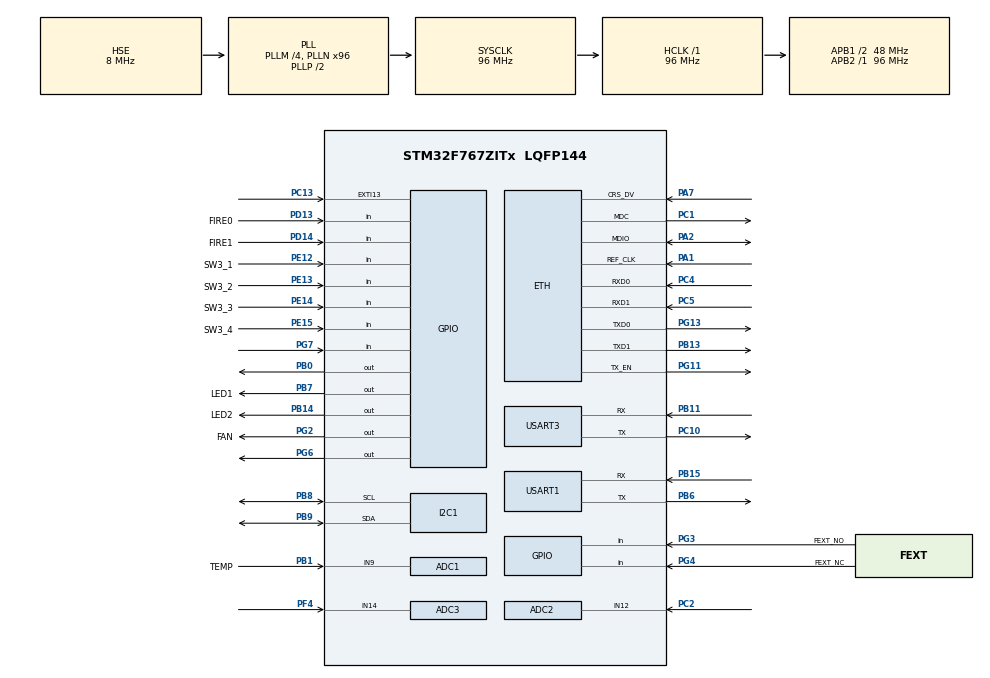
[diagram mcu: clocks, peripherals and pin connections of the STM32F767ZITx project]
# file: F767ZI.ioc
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ADC1.Channel-9\#ChannelRegularConversion=ADC_CHANNEL_9
ADC1.NbrOfConversionFlag=1
ADC1.Rank-9\#ChannelRegularConversion=1
ADC1.SamplingTime-9\#ChannelRegularConversion=ADC_SAMPLETIME_3CYCLES
ADC1.master=1
ADC2.Channel-3\#ChannelRegularConversion=ADC_CHANNEL_12
ADC2.NbrOfConversionFlag=1
ADC2.Rank-3\#ChannelRegularConversion=1
ADC2.SamplingTime-3\#ChannelRegularConversion=ADC_SAMPLETIME_3CYCLES
ADC3.Channel-3\#ChannelRegularConversion=ADC_CHANNEL_14
ADC3.InjNumberOfConversion=0
ADC3.NbrOfConversion=1
ADC3.NbrOfConversionFlag=1
ADC3.Rank-3\#ChannelRegularConversion=1
ADC3.SamplingTime-3\#ChannelRegularConversion=ADC_SAMPLETIME_3CYCLES
ETH.AutoNegotiation=ETH_AUTONEGOTIATION_ENABLE
ETH.MediaInterface=ETH_MEDIA_INTERFACE_RMII
ETH.PhyAddress=0
FREERTOS.Tasks01=defaultTask,0,256,StartDefaultTask,Default,NULL,Dynamic,NULL,NULL
FREERTOS.configCHECK_FOR_STACK_OVERFLOW=2
FREERTOS.configMINIMAL_STACK_SIZE=256
FREERTOS.configTOTAL_HEAP_SIZE=32768
I2C1.Timing=0x20303E5D
LWIP.GATEWAY_ADDRESS=192.168.001.137
LWIP.IP_ADDRESS=192.168.001.102
LWIP.LWIP_DHCP=0
LWIP.NETMASK_ADDRESS=255.255.255.000
LWIP.Version=v2.1.2_Cube
Mcu.Family=STM32F7
Mcu.Name=STM32F767ZITx
Mcu.Package=LQFP144
NVIC.ETH_IRQn=true\:5\:0\:false\:false\:true\:true\:false\:true
NVIC.EXTI15_10_IRQn=true\:5\:0\:false\:false\:true\:true\:true\:true
NVIC.PriorityGroup=NVIC_PRIORITYGROUP_4
NVIC.TIM6_DAC_IRQn=true\:0\:0\:false\:false\:true\:false\:false\:true
NVIC.TimeBase=TIM6_DAC_IRQn
NVIC.TimeBaseIP=TIM6
NVIC.USART1_IRQn=true\:5\:0\:false\:false\:true\:true\:true\:true
PA1.GPIO_Mode=GPIO_MODE_AF_PP
PA1.GPIO_PuPd=GPIO_NOPULL
PA1.GPIO_Speed=GPIO_SPEED_FREQ_VERY_HIGH
PA1.Mode=RMII
PA1.Signal=ETH_REF_CLK
PA10.GPIO_Mode=GPIO_MODE_AF_PP
PA10.GPIO_PuPd=GPIO_NOPULL
PA10.GPIO_Speed=GPIO_SPEED_FREQ_VERY_HIGH
PA10.Signal=USB_OTG_FS_ID
PA11.GPIO_Mode=GPIO_MODE_AF_PP
PA11.GPIO_PuPd=GPIO_NOPULL
PA11.GPIO_Speed=GPIO_SPEED_FREQ_VERY_HIGH
PA11.Signal=USB_OTG_FS_DM
PA12.GPIO_Mode=GPIO_MODE_AF_PP
PA12.GPIO_PuPd=GPIO_NOPULL
PA12.GPIO_Speed=GPIO_SPEED_FREQ_VERY_HIGH
PA12.Signal=USB_OTG_FS_DP
PA13.Mode=Serial_Wire
PA13.Signal=SYS_JTMS-SWDIO
PA14.Mode=Serial_Wire
PA14.Signal=SYS_JTCK-SWCLK
PA2.GPIO_Mode=GPIO_MODE_AF_PP
PA2.GPIO_PuPd=GPIO_NOPULL
PA2.GPIO_Speed=GPIO_SPEED_FREQ_VERY_HIGH
PA2.Mode=RMII
PA2.Signal=ETH_MDIO
PA7.GPIO_Mode=GPIO_MODE_AF_PP
PA7.GPIO_PuPd=GPIO_NOPULL
PA7.GPIO_Speed=GPIO_SPEED_FREQ_VERY_HIGH
PA7.Mode=RMII
PA7.Signal=ETH_CRS_DV
PA8.GPIO_Mode=GPIO_MODE_AF_PP
PA8.GPIO_PuPd=GPIO_NOPULL
PA8.GPIO_Speed=GPIO_SPEED_FREQ_VERY_HIGH
PA8.Signal=USB_OTG_FS_SOF
PA9.GPIO_Mode=GPIO_MODE_INPUT
PA9.GPIO_PuPd=GPIO_NOPULL
PA9.Signal=USB_OTG_FS_VBUS
PB0.GPIO_ModeDefaultOutputPP=GPIO_MODE_OUTPUT_PP
PB0.GPIO_PuPd=GPIO_NOPULL
PB0.GPIO_Speed=GPIO_SPEED_FREQ_LOW
PB0.PinState=GPIO_PIN_RESET
PB0.Signal=GPIO_Output
PB1.GPIO_Label=TEMP
PB1.Signal=ADCx_IN9
PB11.GPIO_ModeDefaultPP=GPIO_MODE_AF_PP
PB11.GPIO_PuPd=GPIO_NOPULL
PB11.GPIO_Speed=GPIO_SPEED_FREQ_VERY_HIGH
PB11.Mode=Asynchronous
PB11.Signal=USART3_RX
PB13.GPIO_Mode=GPIO_MODE_AF_PP
PB13.GPIO_PuPd=GPIO_NOPULL
PB13.GPIO_Speed=GPIO_SPEED_FREQ_VERY_HIGH
PB13.Mode=RMII
PB13.Signal=ETH_TXD1
PB14.GPIO_Label=LED2
PB14.Signal=GPIO_Output
PB15.Mode=Asynchronous
PB15.Signal=USART1_RX
PB3.Signal=SYS_JTDO-SWO
PB6.Mode=Asynchronous
PB6.Signal=USART1_TX
PB7.GPIO_FM7=__NULL
PB7.GPIO_Label=LED1
PB7.GPIO_ModeDefaultOutputPP=GPIO_MODE_OUTPUT_PP
PB7.GPIO_PuPd=GPIO_NOPULL
PB7.GPIO_Speed=GPIO_SPEED_FREQ_LOW
PB7.PinState=GPIO_PIN_RESET
PB7.Signal=GPIO_Output
PB8.Mode=I2C
PB8.Signal=I2C1_SCL
PB9.Mode=I2C
PB9.Signal=I2C1_SDA
PC1.GPIO_Mode=GPIO_MODE_AF_PP
PC1.GPIO_PuPd=GPIO_NOPULL
PC1.GPIO_Speed=GPIO_SPEED_FREQ_VERY_HIGH
PC1.Mode=RMII
PC1.Signal=ETH_MDC
PC10.GPIO_ModeDefaultPP=GPIO_MODE_AF_PP
PC10.GPIO_PuPd=GPIO_NOPULL
PC10.GPIO_Speed=GPIO_SPEED_FREQ_VERY_HIGH
PC10.Mode=Asynchronous
PC10.Signal=USART3_TX
PC13.GPIO_ModeDefaultEXTI=GPIO_MODE_IT_FALLING
PC13.Signal=GPXTI13
PC14/OSC32_IN.Mode=LSE-External-Oscillator
PC14/OSC32_IN.Signal=RCC_OSC32_IN
PC15/OSC32_OUT.Mode=LSE-External-Oscillator
PC15/OSC32_OUT.Signal=RCC_OSC32_OUT
PC2.Signal=ADCx_IN12
PC4.GPIO_Mode=GPIO_MODE_AF_PP
PC4.GPIO_PuPd=GPIO_NOPULL
PC4.GPIO_Speed=GPIO_SPEED_FREQ_VERY_HIGH
PC4.Mode=RMII
PC4.Signal=ETH_RXD0
PC5.GPIO_Mode=GPIO_MODE_AF_PP
PC5.GPIO_PuPd=GPIO_NOPULL
PC5.GPIO_Speed=GPIO_SPEED_FREQ_VERY_HIGH
PC5.Mode=RMII
PC5.Signal=ETH_RXD1
PD13.GPIO_Label=FIRE0
PD13.Signal=GPIO_Input
PD14.GPIO_Label=FIRE1
PD14.Signal=GPIO_Input
PD5.Signal=USART2_TX
PD6.Signal=USART2_RX
PE12.GPIO_Label=SW3_1
PE12.Signal=GPIO_Input
PE13.GPIO_Label=SW3_2
PE13.Signal=GPIO_Input
PE14.GPIO_Label=SW3_3
PE14.Signal=GPIO_Input
PE15.GPIO_Label=SW3_4
PE15.Signal=GPIO_Input
PF4.Mode=IN14
PF4.Signal=ADC3_IN14
PG11.GPIO_Mode=GPIO_MODE_AF_PP
PG11.GPIO_PuPd=GPIO_NOPULL
PG11.GPIO_Speed=GPIO_SPEED_FREQ_VERY_HIGH
PG11.Mode=RMII
PG11.Signal=ETH_TX_EN
PG13.GPIO_Mode=GPIO_MODE_AF_PP
PG13.GPIO_PuPd=GPIO_NOPULL
PG13.GPIO_Speed=GPIO_SPEED_FREQ_VERY_HIGH
PG13.Mode=RMII
PG13.Signal=ETH_TXD0
PG14.Signal=USART6_TX
PG2.GPIO_Label=FAN
PG2.Signal=GPIO_Output
PG3.GPIO_Label=FEXT_NO
PG3.Signal=GPIO_Input
PG4.GPIO_Label=FEXT_NC
PG4.Signal=GPIO_Input
PG6.GPIO_ModeDefaultOutputPP=GPIO_MODE_OUTPUT_PP
PG6.GPIO_PuPd=GPIO_NOPULL
PG6.GPIO_Speed=GPIO_SPEED_FREQ_LOW
PG6.PinState=GPIO_PIN_RESET
PG6.Signal=GPIO_Output
PG7.GPIO_Mode=GPIO_MODE_INPUT
PG7.GPIO_PuPd=GPIO_NOPULL
PG7.Signal=GPIO_Input
PG9.Signal=USART6_RX
PH0/OSC_IN.Mode=HSE-External-Clock-Source
PH0/OSC_IN.Signal=RCC_OSC_IN
PH1/OSC_OUT.Mode=HSE-External-Clock-Source
PH1/OSC_OUT.Signal=RCC_OSC_OUT
ProjectManager.HeapSize=0x200
ProjectManager.StackSize=0x400
ProjectManager.TargetToolchain=STM32CubeIDE
RCC.48MHZClocksFreq_Value=24000000
RCC.AHBFreq_Value=96000000
RCC.APB1CLKDivider=RCC_HCLK_DIV2
RCC.APB1Freq_Value=48000000
RCC.APB1TimFreq_Value=96000000
RCC.APB2Freq_Value=96000000
RCC.APB2TimFreq_Value=96000000
RCC.CortexFreq_Value=96000000
RCC.HCLKFreq_Value=96000000
RCC.HSE_VALUE=8000000
RCC.HSI_VALUE=16000000
RCC.PLLM=4
RCC.PLLMUL=RCC_PLL_MUL9
RCC.PLLN=96
RCC.PLLQ=4
RCC.PLLSourceVirtual=RCC_PLLSOURCE_HSE
RCC.PRESCALERUSB=RCC_USBCLKSOURCE_PLL_DIV1_5
RCC.SYSCLKFreq_VALUE=96000000
RCC.SYSCLKSource=RCC_SYSCLKSOURCE_PLLCLK
RCC.SYSCLKSourceVirtual=RCC_SYSCLKSOURCE_PLLCLK
RCC.USBFreq_Value=48000000
RCC.VCOOutputFreq_Value=192000000
SH.ADCx_IN12.0=ADC2_IN12,IN12
SH.ADCx_IN9.0=ADC1_IN9,IN9
USART1.VirtualMode-Asynchronous=VM_ASYNC
USART3.VirtualMode-Asynchronous=VM_ASYNC
VP_FREERTOS_VS_CMSIS_V1.Mode=CMSIS_V1
VP_LWIP_VS_Enabled.Mode=Enabled
VP_SYS_VS_tim6.Mode=TIM6
board=NUCLEO-F767ZI

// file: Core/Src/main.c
/* USER CODE BEGIN Header */
/**
 ******************************************************************************
 * @file           : main.c
 * @brief          : Main program body
 ******************************************************************************
 * @attention
 *
 * <h2><center>&copy; Copyright (c) 2020 STMicroelectronics.
 * All rights reserved.</center></h2>
 *
 * This software component is licensed by ST under Ultimate Liberty license
 * SLA0044, the "License"; You may not use this file except in compliance with
 * the License. You may obtain a copy of the License at:
 *                             www.st.com/SLA0044
 *
 ******************************************************************************
 */
/* USER CODE END Header */

#include "main.h"
#include "cmsis_os.h"
#include "lwip.h"

/* USER CODE BEGIN Includes */
#include <math.h>
#include <stdbool.h>
#include <stdio.h>
#include <string.h>
#include "lwip/api.h"
#include "bma456.h"
#include "bma4_common.h"
/* USER CODE END Includes */

/* USER CODE BEGIN PTD */
typedef enum {
	REQ = 0, RESP = 1
} packet_type;

struct time_packet {
	uint8_t head; //0xAE
	uint8_t type; //0:REQ, 1:RESP
};

#pragma pack(1)
struct lora_packet_t {
	uint8_t device_id;
	float temp;
	float vocs;
	float smoke;
	float vibr;
	uint8_t fire;
	uint8_t fan_stat;
	uint8_t fext_stat;
};
/* USER CODE END PTD */

/* USER CODE BEGIN PD */

#define DEVICEID  31;
#define FAN_ON_TEMP 35

//#define LORA  1
//#define UDP  1

#define SERVER_IP1  192 //server ip address
#define SERVER_IP2  168
#define SERVER_IP3  1
//#define SERVER_IP4  152
#define SERVER_IP4  137
#define SERVER_PORT	8000 //server listen port

// lora define
#define REGION	"KR920"
#define TX_POWER "0"
//#define DEV_EUI	"60C5A8FFFE78AF6C"
#define APP_EUI	"28d810c5b5291877"
#define APP_KEY	"756be986bd0cf786c37fad995b8f4961"
#define CONFIRM	"1"
#define GRAVITY_EARTH      (9.80665f)
#define VIBR_LIMIT      (1.0f)
#define DIFF_ABS(X,Y) ((X)>(Y)?(X)-(Y):(Y)-(X))

//8000
/* USER CODE END PD */

ADC_HandleTypeDef hadc1;
ADC_HandleTypeDef hadc2;
ADC_HandleTypeDef hadc3;

I2C_HandleTypeDef hi2c1;

UART_HandleTypeDef huart1;
UART_HandleTypeDef huart3;

osThreadId defaultTaskHandle;
/* USER CODE BEGIN PV */
extern struct netif gnetif; //extern gnetif
osThreadId tcp_task;  //tcp client task handle
osThreadId i2c_task;
osThreadId collection_task;
osThreadId udp_send_task;
osThreadId lora_send_task;

osThreadId led_blink_task;

ip_addr_t server_addr; //server address
struct time_packet packet; //256 bytes time_packet structure

int t;
int h;

struct netconn *conn;
bool state; // lora join state
bool lora_init;
bool bma_init;
struct bma4_dev bma = { 0 };
struct bma4_accel sens_data = { 0 };

float vibr_x;
float vibr_y;
float vibr_z;
float vibr;
float temp;
float co;
float vocs;
float formaldehyde;
float toluene;
float benzene;
uint8_t fire;
uint8_t debug;
uint8_t fext_stat;
uint8_t fan_stat;
uint8_t i;

float c_vibr;
float c_temp;
float c_co;
float c_vocs;

float vibr_abs_new;
float vibr_abs_old;

uint8_t device_id;
char *device_eui;

uint8_t LORA;
uint8_t UDP;

/* USER CODE END PV */

void SystemClock_Config(void);
static void MX_GPIO_Init(void);
static void MX_ADC1_Init(void);
static void MX_USART1_UART_Init(void);
static void MX_USART3_UART_Init(void);
static void MX_ADC3_Init(void);
static void MX_ADC2_Init(void);
static void MX_I2C1_Init(void);
void StartDefaultTask(void const *argument);

/* USER CODE BEGIN PFP */
void StartClientTask(void const *argument); //tcp client task function
void StartI2CTask(void const *argument);
void startUdpSendTask(void const *argument);
void startLoRaSendTask(void const *argument);
void collectionTask(void const *argument);
/* USER CODE END PFP */

/* USER CODE BEGIN 0 */

int __io_putchar(int ch) {
	uint8_t ch8 = ch;
	HAL_UART_Transmit(&huart3, (uint8_t*) &ch8, 1, HAL_MAX_DELAY);
	return ch;
}

int __io_getchar() {
	uint8_t ch8;
	HAL_UART_Receive(&huart3, &ch8, 1, HAL_MAX_DELAY);
	return 0;
}

void reset(){
	vibr = c_vibr;
	temp = c_temp;
	co = c_co;
	vocs = 0;

}

void print_ip(unsigned int ip, unsigned int netmask, unsigned int gw_ip) {
	unsigned char bytes[4];
	bytes[0] = ip & 0xFF;
	bytes[1] = (ip >> 8) & 0xFF;
	bytes[2] = (ip >> 16) & 0xFF;
	bytes[3] = (ip >> 24) & 0xFF;
	printf("ip %d.%d.%d.%d\r\n", bytes[3], bytes[2], bytes[1], bytes[0]);

	bytes[0] = netmask & 0xFF;
	bytes[1] = (netmask >> 8) & 0xFF;
	bytes[2] = (netmask >> 16) & 0xFF;
	bytes[3] = (netmask >> 24) & 0xFF;
	printf("netmask %d.%d.%d.%d\r\n", bytes[3], bytes[2], bytes[1], bytes[0]);

	bytes[0] = gw_ip & 0xFF;
	bytes[1] = (gw_ip >> 8) & 0xFF;
	bytes[2] = (gw_ip >> 16) & 0xFF;
	bytes[3] = (gw_ip >> 24) & 0xFF;
	printf("gw_ip %d.%d.%d.%d\r\n", bytes[3], bytes[2], bytes[1], bytes[0]);
}

static float lsb_to_ms2(int16_t val, float g_range, uint8_t bit_width) {
	float half_scale = (1 << bit_width) / 2.0f;
	return ((float) (GRAVITY_EARTH * val * g_range)) / half_scale;
}

const float LM75A_DEGREES_RESOLUTION = 0.125;
void collectionTask(void const *argument) {
	printf("----- StartCollectionTask ------\r\n");

	//adc
	uint32_t adc;
	float co_tmp;
	float V;

	//gpio
	uint8_t fext_no = HAL_GPIO_ReadPin(GPIOG, FEXT_NO_Pin); // FEXT EMPTY
	uint8_t fext_nc = HAL_GPIO_ReadPin(GPIOG, FEXT_NC_Pin); // FEXT NOT CONNECTED

	uint8_t fire0 = HAL_GPIO_ReadPin(GPIOD, FIRE0_Pin); // temp up
	uint8_t fire1 = HAL_GPIO_ReadPin(GPIOD, FIRE1_Pin); // fire up

	fext_stat = fext_no << 1 | fext_nc;
	fire = fire1 << 1 | fire0;

	//i2c
	HAL_StatusTypeDef ret;
	int8_t rslt;

	int16_t refactored_value;
	uint8_t *ptr = (uint8_t*) &refactored_value;

	uint8_t send_buf[1] = { 0x00 };
	uint8_t i2c_rx_buf[2] = { 0 };

	float real_value;

	while (1) {
		// ---------------------- START ADC ----------------------
		osDelay(200);

		//printf("========== ADC ==========\r\n");
		//printf("       ADC    V         Value\r\n");

		// co , PC2 , SMOKE_A
		HAL_ADC_Start(&hadc2);
		HAL_ADC_PollForConversion(&hadc2, HAL_MAX_DELAY);
		adc = HAL_ADC_GetValue(&hadc2);
		V = adc * (3.3f / 4096.0f);
		V = V * 5 / 3.3f;

		co_tmp = 113.26042 - (271.01187 * V) + (148.17739 * pow(V, 2)); // * 5/3.3

		if (V > 1.0 && co_tmp > 0) {
			if (co_tmp > 1000) {
				c_co = 1000;
			} else {
				c_co = co_tmp;
			}
		} else {
			c_co = 0;
		}

		co  = fmaxf(co,c_co);

		//printf("CO  : %d , %f, %f PPM\r\n", adc, V, co);

		// voc , PF4 , VOC_A
		HAL_ADC_Start(&hadc3);
		HAL_ADC_PollForConversion(&hadc3, HAL_MAX_DELAY);
		adc = HAL_ADC_GetValue(&hadc3);
		V = adc * (3.3f / 4096.0f);
		V = V * 5 / 3.3;

		toluene =  pow(10, (-5.237f) + 4.848f * (V) + (-0.857f) * pow(V, 2));
		formaldehyde = pow(10,(-5.905f) + 6.996f * (V) + (-1.327f) * pow(V, 2));
		benzene = pow(10, (-11.207f) + 14.718f * (V) + (-3.829f) * pow(V, 2));

		if (V > 2.62) {
			toluene = 750;
		}

		if (V > 2.08) {
			formaldehyde = 750;
		}

		if (V > 1.39) {
			benzene = 70;
		}

		//formaldehyde = (-3.665) + (3.009 * V ) + ((-0.362) * pow(V, 2));
		//toluene = (-9.234) + (5.249 * V) + ((-0.557)* pow(V, 2));

		//printf("VOCS  : %d , %fV\r\n", adc, V);
		//printf("TOL  : %d , %f, %fppm \r\n", adc, toluene);
		//printf("FOR  : %d , %f, %fppm \r\n", adc, V, formaldehyde);
		//printf("BEZ  : %d , %f, %fppm \r\n", adc, V, benzene);
		c_vocs = formaldehyde;
		vocs = fmaxf(vocs,c_vocs);
		// ---------------------- END ADC ----------------------

		// ---------------------- START I2C ----------------------
		//printf("========== I2C ==========\r\n");

		ret = HAL_I2C_Master_Transmit(&hi2c1, 0x90, send_buf, 1, HAL_MAX_DELAY);
		if (ret != HAL_OK) {
			printf("LM75AD i2s send error\r\n");
		} else {
			ret = HAL_I2C_Master_Receive(&hi2c1, 0x90, i2c_rx_buf, 2,
			HAL_MAX_DELAY);

			if (ret != HAL_OK) {
				printf("LM75AD i2s receive error\r\n");
			} else {

				// Swap bytes
				*ptr = *((uint8_t*) &i2c_rx_buf + 1);
				*(ptr + 1) = *(uint8_t*) &i2c_rx_buf;

				// Shift data (left-aligned)
				refactored_value >>= 5;

				if (refactored_value & 0x0400) {
					// When sign bit is set, set upper unused bits, then 2's complement
					refactored_value |= 0xf800;
					refactored_value = ~refactored_value + 1;
					real_value = (float) refactored_value * (-1)
							* LM75A_DEGREES_RESOLUTION;
				} else {
					real_value = (float) refactored_value
							* LM75A_DEGREES_RESOLUTION;
				}
				c_temp = real_value;
				temp = fmaxf(temp,c_temp);
				//printf("temp : %f\r\n", temp);
			}
		}

		// ---------------------- START GPIO ----------------------
		//printf("========== GPIO ==========\r\n");

		// get Fire extinguisher status
		// 0 ->1 : GAS EMPTY , 1 -> 0 : WORKING or NOT CONNECT

		fext_no = HAL_GPIO_ReadPin(GPIOG, FEXT_NO_Pin); // FEXT EMPTY
		fext_nc = HAL_GPIO_ReadPin(GPIOG, FEXT_NC_Pin); // FEXT NOT CONNECTED
		fire0 = HAL_GPIO_ReadPin(GPIOD, FIRE0_Pin); // temp up
		fire1 = HAL_GPIO_ReadPin(GPIOD, FIRE1_Pin); // fire up

		fext_stat = fext_no << 1 | fext_nc;
		fire = fire1 << 1 | fire0;

		//printf(" FIRE0 %d\r\n",fire0 );
		//printf(" FIRE1 %d\r\n",fire1 );
		//printf("fext_stat : %d \r\n", fext_stat);
		//printf("fire : %d \r\n", fire);

		fan_stat = HAL_GPIO_ReadPin(GPIOG, FAN_Pin);
		//printf("fan_stat : %d\r\n", fan_stat);

		// control fan
		if(temp >= FAN_ON_TEMP && fan_stat == 0){
			printf(" FAN ON \r\n");
			HAL_GPIO_WritePin(GPIOG, FAN_Pin ,GPIO_PIN_SET);
		}else if(temp < FAN_ON_TEMP && fan_stat == 1){
			printf(" FAN OFF \r\n");
			HAL_GPIO_WritePin(GPIOG, FAN_Pin ,GPIO_PIN_RESET);
		}

		//HAL_GPIO_TogglePin(GPIOG, FAN_Pin);

		// ---------------------- END GPIO ----------------------
		/* Read the accel x, y, z data */
//		if (bma_init) {
//			rslt = bma4_read_accel_xyz(&sens_data, &bma);
//			bma4_error_codes_print_result("bma4_read_accel_xyz status", rslt);
//
//			if (rslt == BMA4_OK) {
//
//				/* Converting lsb to meter per second squared for 16 bit resolution at 2G range */
//				vibr_x = lsb_to_ms2(sens_data.x, 2, bma.resolution);
//				vibr_y = lsb_to_ms2(sens_data.y, 2, bma.resolution);
//				vibr_z = lsb_to_ms2(sens_data.z, 2, bma.resolution);
//
//				/* Print the data in m/s2 */
//				/* Print the data in m/s2 */
//				//printf("ANGLE : x:%d, y:%d, z:%d\r\n", sens_data.x, sens_data.y, sens_data.z);
//				printf("ANGLE : x:%f, y:%f, z:%f , %f\r\n", vibr_x, vibr_y,
//						vibr_zsqrt(pow(vibr_x, 2.0) + pow(vibr_y, 2.0)+ pow(vibr_z, 2.0)));
//			}
//		}
		/*uint8_t send_buf[1] = { 0x00};
		 uint8_t i2c_rx_buf[65] = { 0 };

		 ret = HAL_I2C_Master_Transmit(&hi2c1, 0x30, send_buf, sizeof(send_buf), HAL_MAX_DELAY);
		 if (ret != HAL_OK) {
		 printf("i2s send error\r\n");
		 } else {
		 ret = HAL_I2C_Master_Receive(&hi2c1, 0x30, i2c_rx_buf, sizeof(i2c_rx_buf),
		 HAL_MAX_DELAY);

		 if (ret != HAL_OK) {
		 printf("i2s receive error\r\n");
		 } else {
		 printf("i2c : !");
		 for (uint8_t i = 0; i < sizeof(i2c_rx_buf); i++) {
		 printf("%x ", i2c_rx_buf[i]);
		 }

		 printf("\r\n");

		 }
		 }
		 */
		// ---------------------- END I2C ----------------------
		// ---------------------- TOGGLE TEST--------------------
		//HAL_GPIO_TogglePin(GPIOB, RED_LED_Pin);
//		if (i % 2 == 0) {
//			printf("========== GPIO TOGGLE ==========\r\n");
//			HAL_GPIO_TogglePin(GPIOG, FAN_Pin); //toggle relay of fan
//		}
//		i++;
	}

}

// lora uart data
uint8_t lora_rv_data;
uint8_t lora_rv_buf[1024];
uint32_t lora_rv_buf_pos;
void HAL_UART_RxCpltCallback(UART_HandleTypeDef *uartHandle) {

	if (uartHandle->Instance == huart3.Instance) {
//		if (pos == 0) {
//			memset(buf, 0, sizeof(buf));
//		}
//
//		buf[pos++] = data;
//
//		if (pos == sizeof(buf)) {
//			printf("%s\r\n", buf);
//			pos = 0;
//		}
//
//		HAL_UART_Receive_IT(&huart3, &lora_rv_data, 1);
	} else if (uartHandle->Instance == huart1.Instance) {

		lora_rv_buf[lora_rv_buf_pos++] = lora_rv_data;

		if (lora_rv_buf_pos == sizeof(lora_rv_buf)) {
			//printf("%s", lora_rv_buf);
			lora_rv_buf_pos = 0;
		}

		HAL_UART_Receive_IT(&huart1, &lora_rv_data, 1);
	}
}

void Lora_Buf_Clear() {
	memset(lora_rv_buf, 0x0, sizeof(lora_rv_buf));
	lora_rv_buf_pos = 0;
	osDelay(500);
	HAL_UART_Receive_IT(&huart1, &lora_rv_data, 1);

}

void Lora_Cmd_Send(UART_HandleTypeDef *huart, char *cmd) {
	HAL_UART_Transmit_IT(huart, cmd, strlen(cmd));
}

bool Lora_Str_Find(char *str) {
	return strstr((char*) lora_rv_buf, str) != NULL;
}

void Print_Lora_Buf() {
	printf("%s\r\n", lora_rv_buf);
}

bool Lora_INIT(UART_HandleTypeDef *huart, char *cmd) {
	Lora_Buf_Clear();
	Lora_Cmd_Send(huart, cmd);
	osDelay(1500);

	//check uart response
	//Print_Lora_Buf();
	if (Lora_Str_Find("OK")) {
		return true;
	} else {
		return false;
	}

}
bool c1, c2, c3, c4, c5, c6;
bool Lora_Config(UART_HandleTypeDef *huart) {

	char cmd[128];
	bool flag = true;
	while (flag) {
		// set KR920
		if (!c1) {
			sprintf(cmd, "at+set_config=lora:region:%s\r\n", REGION);
			if (Lora_INIT(huart, cmd)) {
				printf("Lora_INIT OK : %s", cmd);
				c1 = true;
			} else {
				printf("Lora_INIT FAIL : %s", cmd);
				continue;
			}
		}

		// set TX Power
// default : 0
//		if (!c2) {
//			sprintf(cmd, "at+set_config=lora:tx_power:%s\r\n", TX_POWER);
//			if (Lora_INIT(huart, cmd)) {
//				printf("Lora_INIT OK : %s", cmd);
//				c2 = true;
//			} else {
//				printf("Lora_INIT FAIL : %s", cmd);
//				continue;
//			}
//		}

		// set app_eui device_eui

		if (!c3) {
			sprintf(cmd, "at+set_config=lora:app_eui:%s\r\n", APP_EUI);
			if (Lora_INIT(huart, cmd)) {
				printf("Lora_INIT OK : %s", cmd);
				c3 = true;
			} else {
				printf("Lora_INIT FAIL : %s", cmd);
				continue;
			}
		}
		// set dev_eui

		if (!c4) {
			//sprintf(cmd, "at+set_config=lora:dev_eui:%s\r\n", DEV_EUI);
			sprintf(cmd, "at+set_config=lora:dev_eui:%s\r\n", device_eui);
			if (Lora_INIT(huart, cmd)) {
				printf("Lora_INIT OK : %s", cmd);
				c4 = true;
			} else {
				printf("Lora_INIT FAIL : %s", cmd);
				continue;
			}
		}

		if (!c5) {
			// set app_key
			sprintf(cmd, "at+set_config=lora:app_key:%s\r\n", APP_KEY);
			if (Lora_INIT(huart, cmd)) {
				printf("Lora_INIT OK : %s", cmd);
				c5 = true;
			} else {
				printf("Lora_INIT FAIL : %s", cmd);
				continue;
			}
		}

		if (!c6) {
			// set app_key
			sprintf(cmd, "at+set_config=lora:confirm:%s\r\n", CONFIRM);
			if (Lora_INIT(huart, cmd)) {
				printf("Lora_INIT OK : %s", cmd);
				c6 = true;
			} else {
				printf("Lora_INIT FAIL : %s", cmd);
				continue;
			}
		}
		break;

	}

}

bool Lora_Status(UART_HandleTypeDef *huart) {
	Lora_Buf_Clear();
	Lora_Cmd_Send(huart, "at+get_config=lora:status\r\n");
	osDelay(1000);
	//Print_Lora_Buf();
	if (Lora_Str_Find("Joined Network:true")) {
		//printf("LoRa Joined Network\r\n");
		return true;
	} else {
		//printf("LoRa Not Joined Network\r\n");
		return false;
	}
}

bool Lora_Join(UART_HandleTypeDef *huart) {
	Lora_Buf_Clear();
	Lora_Cmd_Send(huart, "at+join\r\n");
	osDelay(5000);
	//Print_Lora_Buf();
	if (Lora_Str_Find("Join Success")) {
		return true;
	} else {
		return false;
	}
}

char lora_send_msg[128];
char lora_send_payload[128];
uint32_t len;
struct lora_packet_t lora_packet_t;
void Lora_Send(UART_HandleTypeDef *huart) {

	len = sprintf((char*) lora_send_msg, "at+send=lora:10:");

//	struct lora_packet_t {
//		uint32_t device_id;
//		uint8_t temp;
//		uint8_t vocs;
//		short smoke;
//		float vibr_x;
//		float vibr_y;
//		float vibr_z;
//		uint8_t fire;
//		uint8_t fan_stat;
//		uint8_t fext_stat;
//	};

//	float vibr_x;
//	float vibr_y;
//	float vibr_z;
//	float temp;
//	float co;
//	float formaldehyde;
//	float toluene;
//	float vocs;
//	uint8_t fire0;
//	uint8_t fire1;
//	uint8_t fire;
//	uint8_t debug;
//	uint8_t fext_stat;
//	uint8_t fan_stat;
//	uint8_t i;

	lora_packet_t.device_id = device_id;
	lora_packet_t.temp = temp;
	lora_packet_t.vocs = vocs;
	lora_packet_t.smoke = co;
	lora_packet_t.vibr = vibr;
	lora_packet_t.fire = fire;
	lora_packet_t.fan_stat = fan_stat;
	lora_packet_t.fext_stat = fext_stat;

	printf(
			"#### SEND LoRa Msg : {\"device_id\":%d,\"temp\":%f,\"vocs\":%f,\"smoke\":%f,\"vibr\":%f,\"fire\":%x,\"fan\":%x,\"fext_stat\":%x}\r\n",
			lora_packet_t.device_id,
			lora_packet_t.temp, //
			lora_packet_t.vocs, //
			lora_packet_t.smoke, lora_packet_t.vibr, lora_packet_t.fire,
			lora_packet_t.fan_stat, lora_packet_t.fext_stat);

	for (uint8_t i = 0; i < sizeof(struct lora_packet_t); i++) {
		sprintf((char*) &lora_send_msg[len + (i * 2)], "%02X",
				((char*) &lora_packet_t)[i]);
	}

	len += sizeof(struct lora_packet_t) * 2;

	lora_send_msg[len++] = '\r';
	lora_send_msg[len++] = '\n';

//printf("%s",lora_send_msg, sizeof(struct lora_packet_t));
	Lora_Buf_Clear();
	Lora_Cmd_Send(huart, lora_send_msg);
	//osDelay(500);
	for (uint8_t wait_cnt = 0; wait_cnt < 60; wait_cnt++) { // wait 1 minute
		osDelay(1000);
		Print_Lora_Buf();
		if (Lora_Str_Find("OK") || Lora_Str_Find("ERROR")) {
			break;
		}
	}
	reset();
}

void StartI2CTask(void const *argument) {
	printf("----- startI2CTask ------\r\n");

	HAL_StatusTypeDef ret;

	uint8_t send_buf[1] = { 0x00 };
	uint8_t i2c_rx_buf[2] = { 0 };

//lora_rv_data = netbuf_alloc(buf, 128);

	while (1) {
		ret = HAL_I2C_Master_Transmit(&hi2c1, 0x48, send_buf, 1, HAL_MAX_DELAY);
		if (ret != HAL_OK) {
			printf("i2s send error\r\n");
		} else {
			ret = HAL_I2C_Master_Receive(&hi2c1, 0x48, i2c_rx_buf, 2,
			HAL_MAX_DELAY);

			if (ret != HAL_OK) {
				printf("i2s receive error\r\n");
			} else {
//				printf("test %d lora_rv_data : %x %x %x %x %x %x\r\n",
//						sizeof(i2c_rx_buf), i2c_rx_buf[0], i2c_rx_buf[1],
//						i2c_rx_buf[2], i2c_rx_buf[3], i2c_rx_buf[4],
//						i2c_rx_buf[5]);
//				uint32_t temp = (float) ((float) 175.0
//						* (float) (i2c_rx_buf[0] * 0x100 + i2c_rx_buf[1])
//						/ (float) 65535.0 - 45.0);
//				uint32_t humi = (float) ((float) 100.0
//						* (float) (i2c_rx_buf[3] * 0x100 + i2c_rx_buf[4])
//						/ (float) 65535.0);
				//printf("temp : %d , humi : %d \r\n", temp, humi);
//				t = temp;
//				h = humi;

				//packet.head = 0xAE; //head
				//packet.type = REQ; //request type

				//netconn_write(conn, send_buf, sizeof(send_buf), NETCONN_NOFLAG);

			}
		}
		osDelay(1000);
	}
}

//bool readChipId() {
//
//	uint8_t send_buf[1] = { 0x00 };
//	uint8_t i2c_rx_buf[1] = { 0 };
//
//	HAL_StatusTypeDef ret = HAL_I2C_Master_Transmit(&hi2c1, 0x30, send_buf,
//			sizeof(send_buf),
//			HAL_MAX_DELAY);
//
//	if (ret != HAL_OK) {
//		printf("communication : SEND ERROR\r\n");
//		return false;
//	} else {
//		ret = HAL_I2C_Master_Receive(&hi2c1, 0x30, i2c_rx_buf,
//				sizeof(i2c_rx_buf),
//				HAL_MAX_DELAY);
//
//		if (ret != HAL_OK) {
//			printf("communication : RECEIVE ERROR\r\n");
//			return false;
//		} else {
//			if (i2c_rx_buf[0] == 0x16) {
//				printf("communication : OK\r\n");
//				return true;
//			} else {
//				printf("communication : ERROR\r\n");
//				return false;
//			}
//		}
//	}
//}
//
//void bma4_set_advance_power_save(uint8_t enable) {
//	uint8_t send_buf[2] = { 0x7C, enable };
//	if (HAL_I2C_Master_Transmit(&hi2c1, 0x30, send_buf, sizeof(send_buf),
//	HAL_MAX_DELAY) == HAL_OK) {
//		printf("disable PWR_CONF.adv_power_save \r\n");
//	}
//}
//
//void bma4_write_regs(uint8_t init_ctrl) {
//	uint8_t send_buf[2] = { 0x59, init_ctrl };
//	if (HAL_I2C_Master_Transmit(&hi2c1, 0x30, send_buf, sizeof(send_buf),
//	HAL_MAX_DELAY) == HAL_OK) {
//		printf("prepare feature engine INIT_CTRL =0x00 \r\n");
//	}
//
//}
//
//void stream_transfer_write() {
//	uint8_t send_buf[1] = { 0x5E };
//	if (HAL_I2C_Master_Transmit(&hi2c1, 0x30, send_buf, sizeof(send_buf),
//	HAL_MAX_DELAY) == HAL_OK) {
//		printf("burst_write_reg start\r\n");
//	}
//
//	if (HAL_I2C_Master_Transmit(&hi2c1, 0x30, bma456_config_file,
//			sizeof(bma456_config_file), HAL_MAX_DELAY) == HAL_OK) {
//		printf("burst_write_reg finish\r\n");
//	}
//
//}
//
//
//
//bool checkStatus() {
//
//	osDelay(140);
//	uint8_t send_buf[1] = { 0x2A };
//	uint8_t i2c_rx_buf[1] = { 0 };
//
//	HAL_StatusTypeDef ret = HAL_I2C_Master_Transmit(&hi2c1, 0x30, send_buf,
//			sizeof(send_buf),
//			HAL_MAX_DELAY);
//
//	if (ret != HAL_OK) {
//		printf("checkStatus : SEND ERROR\r\n");
//		return false;
//	} else {
//		ret = HAL_I2C_Master_Receive(&hi2c1, 0x30, i2c_rx_buf,
//				sizeof(i2c_rx_buf),
//				HAL_MAX_DELAY);
//
//		if (ret != HAL_OK) {
//			printf("checkStatus : RECEIVE ERROR\r\n");
//			return false;
//		} else {
//			printf("@@@ %x\r\n", i2c_rx_buf[0]);
//			if (i2c_rx_buf[0] == 0x01) {
//				printf("checkStatus : OK\r\n");
//				return true;
//			} else {
//				printf("checkStatus : ERROR\r\n");
//				return false;
//			}
//		}
//	}
//}
//
//
//void initialization() {
//
//	osDelay(1);
//
//	bma4_set_advance_power_save(0x00);
//
//	osDelay(1); // delay 450us
//
//	bma4_write_regs(0x00);
//
//	osDelay(1);
//
//	stream_transfer_write();
//
//	osDelay(1);
//
//	bma4_write_regs(0x01);
//
//	osDelay(1); // delay 150us
//
//}
//
//void initBMA456() {
//	osDelay(10);
//
//	if (!readChipId()) {
//		return;
//	}
//
//	initialization();
//	checkStatus();
//}

//	uint8_t send_buf[1] = { 0x00 };
//	uint8_t i2c_rx_buf[1] = { 0 };
//
//	ret = HAL_I2C_Master_Transmit(&hi2c1, 0x30, send_buf, sizeof(send_buf),
//			HAL_MAX_DELAY);
//	if (ret != HAL_OK) {
//		printf("i2s send error\r\n");
//		return;
//	} else {
//		ret = HAL_I2C_Master_Receive(&hi2c1, 0x30, i2c_rx_buf,
//				sizeof(i2c_rx_buf),
//				HAL_MAX_DELAY);
//
//		if (ret != HAL_OK) {
//			printf("i2s receive error\r\n");
//		} else {
//
//		}
//	}

void initLoRa() {
	osDelay(10);
	HAL_UART_Receive_IT(&huart1, &lora_rv_data, 1);

// init lora config (region , tx power , app eui, dev eui, app key )
	Lora_Config(&huart1);

	printf("LORA RAK JOIN CHECK START!\r\n");

	//state = Lora_Status(&huart1);
	while (1) {
		printf("LORA RAK STATUS CHECK!\r\n");
		state = Lora_Status(&huart1);
		if (state) {
			lora_init = true;
			break;
		} else {
			state = Lora_Join(&huart1);
			if (state == true) {
				lora_init = true;
				break;
			}
		}
	}
	printf("LORA RAK JOIN CHECK Finish!\r\n");
}

void StartClientTask(void const *argument) {

	osDelay(1000);
	printf("----- StartClientTask ------\r\n");
	err_t err;
	struct netbuf *buf;
	void *data;

	u16_t len; //buffer length
	u16_t nRead; //read buffer index
	u16_t nWritten; //write buffer index
	LWIP_UNUSED_ARG(argument);

	while (1) {

		if (gnetif.ip_addr.addr == 0 || gnetif.netmask.addr == 0
				|| gnetif.gw.addr == 0) {
			printf("no valid ip \r\n");
			osDelay(1000);
			continue;
		}
		print_ip(gnetif.ip_addr.addr, gnetif.netmask.addr, gnetif.gw.addr);
		//printf("%"PRIu32"\r\n", gnetif.ip_addr.addr); //print time information

		nRead = 0;			//clear indexes
		nWritten = 0;

		//conn = netconn_new(NETCONN_TCP); //new tcp netconn
		conn = netconn_new(NETCONN_UDP);			//new udp netconn

		if (conn != NULL) {

			printf("start Socket connect\r\n");

			IP4_ADDR(&server_addr, SERVER_IP1, SERVER_IP2, SERVER_IP3,
					SERVER_IP4);	//server ip
			err = netconn_connect(conn, &server_addr, SERVER_PORT);	//connect to the server

			if (err != ERR_OK) {
				printf("connect ERR %d\r\n", err);
				netconn_delete(conn); //free memory
				osDelay(1000);
				continue;
			}
			printf("connected %d\r\n", conn->state);

			//memset(&packet, 0, sizeof(struct time_packet));
			//packet.head = 0xAE; //head
			//packet.type = REQ; //request type

			//netconn_write(conn, &packet, sizeof(struct time_packet), NETCONN_NOFLAG);

//			do {
//
//				if (netconn_write_partly(conn, //connection
//						(const void*) (&packet + nWritten), //buffer pointer
//						(sizeof(struct time_packet) - nWritten), //buffer length
//						NETCONN_NOFLAG, //no copy
//						(size_t*) &len) != ERR_OK) //written len
//						{
//					netconn_close(conn); //close session
//					netconn_delete(conn); //free memory
//					continue;
//				} else {
//					nWritten += len;
//				}
//			} while (nWritten < sizeof(struct time_packet)); //send request

			while (netconn_recv(conn, &buf) == ERR_OK)	//receive the response
			{
				do {

					netbuf_data(buf, &data, &len); //receive lora_rv_data pointer & length

					//memcpy(&packet + nRead, lora_rv_data, len);
					//printf("receive@@ %d \r\n", len);
					nRead += len;
				} while (netbuf_next(buf) >= 0); //check buffer empty
				netbuf_delete(buf); //clear buffer
			}

			printf("end \r\n");
			netconn_close(conn); //close session
			netconn_delete(conn); //free memory
			conn = NULL;
		}
	}
}

uint8_t send_buf[512];
void startUdpSendTask(void const *argument) {

	printf("----- startUdpSendTask ------\r\n");

	struct netbuf *netbuf;
	netbuf = netbuf_new();
	while (1) {
		if (conn != NULL && conn->state == NETCONN_NONE) {

			memset(send_buf, 0, sizeof(send_buf));
			sprintf((char*) send_buf,
					"{\"device_id\":%d,\"temp\":%f,\"vocs\":%f,\"smoke\":%f,\"vibr\":%f,\"fire\":%x,\"fan\":%x,\"fext_stat\":%x}",
					device_id,
					temp, // 0
					vocs, // 0
					co, vibr, fire, fan_stat,
					fext_stat);
			printf("Send UDP Msg : %s\r\n", send_buf);

			//HAL_GPIO_TogglePin(GPIOF, GPIO_PIN_13); //toggle running led

			//UDP
			netbuf_ref(netbuf, send_buf, strlen(send_buf));
			netconn_send(conn, netbuf);

			reset();

			//TCP
			//netconn_write(conn, send_buf, sizeof(send_buf), NETCONN_NOFLAG);

		}
		osDelay(2000);

	}
}

void startLoRaSendTask(void const *argument) {

	printf("----- startLoRaSendTask ------\r\n");
	while (1) {
		// send LoRa message
		if (lora_init) { // lora_init
			state = Lora_Status(&huart1);
			if (state) {
				Lora_Send(&huart1);
			} else { // JOIN
				state = Lora_Join(&huart1);
				if (state == true)
					printf("Lora JOIN Success!!\r\n");
			}
		}
		osDelay(1000);
	}
}

void startLedBlinkTask(void const *argument) {

	printf("----- startLedBlinkTask ------\r\n");
	while (1) {
		HAL_GPIO_TogglePin(GPIOB, LED2_Pin);
		osDelay(200);
	}
}

/* USER CODE END 0 */

int main(void) {

	/* MCU Configuration--------------------------------------------------------*/

	/* Reset of all peripherals, Initializes the Flash interface and the Systick. */
	HAL_Init();

	/* Configure the system clock */
	SystemClock_Config();

	/* Initialize all configured peripherals */
	MX_GPIO_Init();
	MX_ADC1_Init();
	MX_USART1_UART_Init();
	MX_USART3_UART_Init();
	MX_ADC3_Init();
	MX_ADC2_Init();
	MX_I2C1_Init();
	/* USER CODE BEGIN 2 */

	// power led
	HAL_GPIO_WritePin(GPIOB, LED1_Pin, GPIO_PIN_SET);
	/* USER CODE END 2 */

	/* Create the thread(s) */
	/* definition and creation of defaultTask */
	osThreadDef(defaultTask, StartDefaultTask, osPriorityNormal, 0, 256);
	defaultTaskHandle = osThreadCreate(osThread(defaultTask), NULL);

	/* Start scheduler */
	osKernelStart();

	/* We should never get here as control is now taken by the scheduler */
	/* Infinite loop */
	while (1) {

	}
}

void SystemClock_Config(void) {
	RCC_OscInitTypeDef RCC_OscInitStruct = { 0 };
	RCC_ClkInitTypeDef RCC_ClkInitStruct = { 0 };
	RCC_PeriphCLKInitTypeDef PeriphClkInitStruct = { 0 };

	/** Configure LSE Drive Capability
	 */
	HAL_PWR_EnableBkUpAccess();
	/** Configure the main internal regulator output voltage
	 */
	__HAL_RCC_PWR_CLK_ENABLE();
	__HAL_PWR_VOLTAGESCALING_CONFIG(PWR_REGULATOR_VOLTAGE_SCALE3);
	/** Initializes the CPU, AHB and APB busses clocks
	 */
	RCC_OscInitStruct.OscillatorType = RCC_OSCILLATORTYPE_HSE;
	RCC_OscInitStruct.HSEState = RCC_HSE_BYPASS;
	RCC_OscInitStruct.PLL.PLLState = RCC_PLL_ON;
	RCC_OscInitStruct.PLL.PLLSource = RCC_PLLSOURCE_HSE;
	RCC_OscInitStruct.PLL.PLLM = 4;
	RCC_OscInitStruct.PLL.PLLN = 96;
	RCC_OscInitStruct.PLL.PLLP = RCC_PLLP_DIV2;
	RCC_OscInitStruct.PLL.PLLQ = 4;
	if (HAL_RCC_OscConfig(&RCC_OscInitStruct) != HAL_OK) {
		Error_Handler();
	}
	/** Activate the Over-Drive mode
	 */
	if (HAL_PWREx_EnableOverDrive() != HAL_OK) {
		Error_Handler();
	}
	/** Initializes the CPU, AHB and APB busses clocks
	 */
	RCC_ClkInitStruct.ClockType = RCC_CLOCKTYPE_HCLK | RCC_CLOCKTYPE_SYSCLK
			| RCC_CLOCKTYPE_PCLK1 | RCC_CLOCKTYPE_PCLK2;
	RCC_ClkInitStruct.SYSCLKSource = RCC_SYSCLKSOURCE_PLLCLK;
	RCC_ClkInitStruct.AHBCLKDivider = RCC_SYSCLK_DIV1;
	RCC_ClkInitStruct.APB1CLKDivider = RCC_HCLK_DIV2;
	RCC_ClkInitStruct.APB2CLKDivider = RCC_HCLK_DIV1;

	if (HAL_RCC_ClockConfig(&RCC_ClkInitStruct, FLASH_LATENCY_3) != HAL_OK) {
		Error_Handler();
	}
	PeriphClkInitStruct.PeriphClockSelection = RCC_PERIPHCLK_USART1
			| RCC_PERIPHCLK_USART3 | RCC_PERIPHCLK_I2C1;
	PeriphClkInitStruct.Usart1ClockSelection = RCC_USART1CLKSOURCE_PCLK2;
	PeriphClkInitStruct.Usart3ClockSelection = RCC_USART3CLKSOURCE_PCLK1;
	PeriphClkInitStruct.I2c1ClockSelection = RCC_I2C1CLKSOURCE_PCLK1;
	if (HAL_RCCEx_PeriphCLKConfig(&PeriphClkInitStruct) != HAL_OK) {
		Error_Handler();
	}
}

static void MX_ADC1_Init(void) {

	ADC_ChannelConfTypeDef sConfig = { 0 };

	/** Configure the global features of the ADC (Clock, Resolution, Data Alignment and number of conversion)
	 */
	hadc1.Instance = ADC1;
	hadc1.Init.ClockPrescaler = ADC_CLOCK_SYNC_PCLK_DIV4;
	hadc1.Init.Resolution = ADC_RESOLUTION_12B;
	hadc1.Init.ScanConvMode = ADC_SCAN_DISABLE;
	hadc1.Init.ContinuousConvMode = DISABLE;
	hadc1.Init.DiscontinuousConvMode = DISABLE;
	hadc1.Init.ExternalTrigConvEdge = ADC_EXTERNALTRIGCONVEDGE_NONE;
	hadc1.Init.ExternalTrigConv = ADC_SOFTWARE_START;
	hadc1.Init.DataAlign = ADC_DATAALIGN_RIGHT;
	hadc1.Init.NbrOfConversion = 1;
	hadc1.Init.DMAContinuousRequests = DISABLE;
	hadc1.Init.EOCSelection = ADC_EOC_SINGLE_CONV;
	if (HAL_ADC_Init(&hadc1) != HAL_OK) {
		Error_Handler();
	}
	/** Configure for the selected ADC regular channel its corresponding rank in the sequencer and its sample time.
	 */
	sConfig.Channel = ADC_CHANNEL_9;
	sConfig.Rank = ADC_REGULAR_RANK_1;
	sConfig.SamplingTime = ADC_SAMPLETIME_3CYCLES;
	if (HAL_ADC_ConfigChannel(&hadc1, &sConfig) != HAL_OK) {
		Error_Handler();
	}

}

static void MX_ADC2_Init(void) {

	ADC_ChannelConfTypeDef sConfig = { 0 };

	/** Configure the global features of the ADC (Clock, Resolution, Data Alignment and number of conversion)
	 */
	hadc2.Instance = ADC2;
	hadc2.Init.ClockPrescaler = ADC_CLOCK_SYNC_PCLK_DIV4;
	hadc2.Init.Resolution = ADC_RESOLUTION_12B;
	hadc2.Init.ScanConvMode = ADC_SCAN_DISABLE;
	hadc2.Init.ContinuousConvMode = DISABLE;
	hadc2.Init.DiscontinuousConvMode = DISABLE;
	hadc2.Init.ExternalTrigConvEdge = ADC_EXTERNALTRIGCONVEDGE_NONE;
	hadc2.Init.ExternalTrigConv = ADC_SOFTWARE_START;
	hadc2.Init.DataAlign = ADC_DATAALIGN_RIGHT;
	hadc2.Init.NbrOfConversion = 1;
	hadc2.Init.DMAContinuousRequests = DISABLE;
	hadc2.Init.EOCSelection = ADC_EOC_SINGLE_CONV;
	if (HAL_ADC_Init(&hadc2) != HAL_OK) {
		Error_Handler();
	}
	/** Configure for the selected ADC regular channel its corresponding rank in the sequencer and its sample time.
	 */
	sConfig.Channel = ADC_CHANNEL_12;
	sConfig.Rank = ADC_REGULAR_RANK_1;
	sConfig.SamplingTime = ADC_SAMPLETIME_3CYCLES;
	if (HAL_ADC_ConfigChannel(&hadc2, &sConfig) != HAL_OK) {
		Error_Handler();
	}

}

static void MX_ADC3_Init(void) {

	ADC_ChannelConfTypeDef sConfig = { 0 };

	/** Configure the global features of the ADC (Clock, Resolution, Data Alignment and number of conversion)
	 */
	hadc3.Instance = ADC3;
	hadc3.Init.ClockPrescaler = ADC_CLOCK_SYNC_PCLK_DIV4;
	hadc3.Init.Resolution = ADC_RESOLUTION_12B;
	hadc3.Init.ScanConvMode = ADC_SCAN_DISABLE;
	hadc3.Init.ContinuousConvMode = DISABLE;
	hadc3.Init.DiscontinuousConvMode = DISABLE;
	hadc3.Init.ExternalTrigConvEdge = ADC_EXTERNALTRIGCONVEDGE_NONE;
	hadc3.Init.ExternalTrigConv = ADC_SOFTWARE_START;
	hadc3.Init.DataAlign = ADC_DATAALIGN_RIGHT;
	hadc3.Init.NbrOfConversion = 1;
	hadc3.Init.DMAContinuousRequests = DISABLE;
	hadc3.Init.EOCSelection = ADC_EOC_SINGLE_CONV;
	if (HAL_ADC_Init(&hadc3) != HAL_OK) {
		Error_Handler();
	}
	/** Configure for the selected ADC regular channel its corresponding rank in the sequencer and its sample time.
	 */
	sConfig.Channel = ADC_CHANNEL_14;
	sConfig.Rank = ADC_REGULAR_RANK_1;
	sConfig.SamplingTime = ADC_SAMPLETIME_3CYCLES;
	if (HAL_ADC_ConfigChannel(&hadc3, &sConfig) != HAL_OK) {
		Error_Handler();
	}

}

static void MX_I2C1_Init(void) {

	hi2c1.Instance = I2C1;
	hi2c1.Init.Timing = 0x20303E5D;
	hi2c1.Init.OwnAddress1 = 0;
	hi2c1.Init.AddressingMode = I2C_ADDRESSINGMODE_7BIT;
	hi2c1.Init.DualAddressMode = I2C_DUALADDRESS_DISABLE;
	hi2c1.Init.OwnAddress2 = 0;
	hi2c1.Init.OwnAddress2Masks = I2C_OA2_NOMASK;
	hi2c1.Init.GeneralCallMode = I2C_GENERALCALL_DISABLE;
	hi2c1.Init.NoStretchMode = I2C_NOSTRETCH_DISABLE;
	if (HAL_I2C_Init(&hi2c1) != HAL_OK) {
		Error_Handler();
	}
	/** Configure Analogue filter
	 */
	if (HAL_I2CEx_ConfigAnalogFilter(&hi2c1, I2C_ANALOGFILTER_ENABLE)
			!= HAL_OK) {
		Error_Handler();
	}
	/** Configure Digital filter
	 */
	if (HAL_I2CEx_ConfigDigitalFilter(&hi2c1, 0) != HAL_OK) {
		Error_Handler();
	}

}

static void MX_USART1_UART_Init(void) {

	huart1.Instance = USART1;
	huart1.Init.BaudRate = 115200;
	huart1.Init.WordLength = UART_WORDLENGTH_8B;
	huart1.Init.StopBits = UART_STOPBITS_1;
	huart1.Init.Parity = UART_PARITY_NONE;
	huart1.Init.Mode = UART_MODE_TX_RX;
	huart1.Init.HwFlowCtl = UART_HWCONTROL_NONE;
	huart1.Init.OverSampling = UART_OVERSAMPLING_16;
	huart1.Init.OneBitSampling = UART_ONE_BIT_SAMPLE_DISABLE;
	huart1.AdvancedInit.AdvFeatureInit = UART_ADVFEATURE_NO_INIT;
	if (HAL_UART_Init(&huart1) != HAL_OK) {
		Error_Handler();
	}

}

static void MX_USART3_UART_Init(void) {

	huart3.Instance = USART3;
	huart3.Init.BaudRate = 115200;
	huart3.Init.WordLength = UART_WORDLENGTH_8B;
	huart3.Init.StopBits = UART_STOPBITS_1;
	huart3.Init.Parity = UART_PARITY_NONE;
	huart3.Init.Mode = UART_MODE_TX_RX;
	huart3.Init.HwFlowCtl = UART_HWCONTROL_NONE;
	huart3.Init.OverSampling = UART_OVERSAMPLING_16;
	huart3.Init.OneBitSampling = UART_ONE_BIT_SAMPLE_DISABLE;
	huart3.AdvancedInit.AdvFeatureInit = UART_ADVFEATURE_NO_INIT;
	if (HAL_UART_Init(&huart3) != HAL_OK) {
		Error_Handler();
	}

}

static void MX_GPIO_Init(void) {
	GPIO_InitTypeDef GPIO_InitStruct = { 0 };

	/* GPIO Ports Clock Enable */
	__HAL_RCC_GPIOC_CLK_ENABLE();
	__HAL_RCC_GPIOF_CLK_ENABLE();
	__HAL_RCC_GPIOH_CLK_ENABLE();
	__HAL_RCC_GPIOA_CLK_ENABLE();
	__HAL_RCC_GPIOB_CLK_ENABLE();
	__HAL_RCC_GPIOE_CLK_ENABLE();
	__HAL_RCC_GPIOD_CLK_ENABLE();
	__HAL_RCC_GPIOG_CLK_ENABLE();

	/*Configure GPIO pin Output Level */
	HAL_GPIO_WritePin(GPIOB, GPIO_PIN_0 | LED2_Pin | LED1_Pin, GPIO_PIN_RESET);

	/*Configure GPIO pin Output Level */
	HAL_GPIO_WritePin(GPIOG, FAN_Pin | GPIO_PIN_6, GPIO_PIN_RESET);

	/*Configure GPIO pin : PC13 */
	GPIO_InitStruct.Pin = GPIO_PIN_13;
	GPIO_InitStruct.Mode = GPIO_MODE_IT_FALLING;
	GPIO_InitStruct.Pull = GPIO_NOPULL;
	HAL_GPIO_Init(GPIOC, &GPIO_InitStruct);

	/*Configure GPIO pins : PB0 LED2_Pin LED1_Pin */
	GPIO_InitStruct.Pin = GPIO_PIN_0 | LED2_Pin | LED1_Pin;
	GPIO_InitStruct.Mode = GPIO_MODE_OUTPUT_PP;
	GPIO_InitStruct.Pull = GPIO_NOPULL;
	GPIO_InitStruct.Speed = GPIO_SPEED_FREQ_LOW;
	HAL_GPIO_Init(GPIOB, &GPIO_InitStruct);

	/*Configure GPIO pins : SW3_1_Pin SW3_2_Pin SW3_3_Pin SW3_4_Pin */
	GPIO_InitStruct.Pin = SW3_1_Pin | SW3_2_Pin | SW3_3_Pin | SW3_4_Pin;
	GPIO_InitStruct.Mode = GPIO_MODE_INPUT;
	GPIO_InitStruct.Pull = GPIO_NOPULL;
	HAL_GPIO_Init(GPIOE, &GPIO_InitStruct);

	/*Configure GPIO pins : FIRE0_Pin FIRE1_Pin */
	GPIO_InitStruct.Pin = FIRE0_Pin | FIRE1_Pin;
	GPIO_InitStruct.Mode = GPIO_MODE_INPUT;
	GPIO_InitStruct.Pull = GPIO_NOPULL;
	HAL_GPIO_Init(GPIOD, &GPIO_InitStruct);

	/*Configure GPIO pins : FAN_Pin PG6 */
	GPIO_InitStruct.Pin = FAN_Pin | GPIO_PIN_6;
	GPIO_InitStruct.Mode = GPIO_MODE_OUTPUT_PP;
	GPIO_InitStruct.Pull = GPIO_NOPULL;
	GPIO_InitStruct.Speed = GPIO_SPEED_FREQ_LOW;
	HAL_GPIO_Init(GPIOG, &GPIO_InitStruct);

	/*Configure GPIO pins : FEXT_NO_Pin FEXT_NC_Pin PG7 */
	GPIO_InitStruct.Pin = FEXT_NO_Pin | FEXT_NC_Pin | GPIO_PIN_7;
	GPIO_InitStruct.Mode = GPIO_MODE_INPUT;
	GPIO_InitStruct.Pull = GPIO_NOPULL;
	HAL_GPIO_Init(GPIOG, &GPIO_InitStruct);

	/*Configure GPIO pins : PA8 PA10 PA11 PA12 */
	GPIO_InitStruct.Pin = GPIO_PIN_8 | GPIO_PIN_10 | GPIO_PIN_11 | GPIO_PIN_12;
	GPIO_InitStruct.Mode = GPIO_MODE_AF_PP;
	GPIO_InitStruct.Pull = GPIO_NOPULL;
	GPIO_InitStruct.Speed = GPIO_SPEED_FREQ_VERY_HIGH;
	GPIO_InitStruct.Alternate = GPIO_AF10_OTG_FS;
	HAL_GPIO_Init(GPIOA, &GPIO_InitStruct);

	/*Configure GPIO pin : PA9 */
	GPIO_InitStruct.Pin = GPIO_PIN_9;
	GPIO_InitStruct.Mode = GPIO_MODE_INPUT;
	GPIO_InitStruct.Pull = GPIO_NOPULL;
	HAL_GPIO_Init(GPIOA, &GPIO_InitStruct);

	/*Configure GPIO pins : PD5 PD6 */
	GPIO_InitStruct.Pin = GPIO_PIN_5 | GPIO_PIN_6;
	GPIO_InitStruct.Mode = GPIO_MODE_AF_PP;
	GPIO_InitStruct.Pull = GPIO_NOPULL;
	GPIO_InitStruct.Speed = GPIO_SPEED_FREQ_VERY_HIGH;
	GPIO_InitStruct.Alternate = GPIO_AF7_USART2;
	HAL_GPIO_Init(GPIOD, &GPIO_InitStruct);

	/*Configure GPIO pins : PG9 PG14 */
	GPIO_InitStruct.Pin = GPIO_PIN_9 | GPIO_PIN_14;
	GPIO_InitStruct.Mode = GPIO_MODE_AF_PP;
	GPIO_InitStruct.Pull = GPIO_NOPULL;
	GPIO_InitStruct.Speed = GPIO_SPEED_FREQ_VERY_HIGH;
	GPIO_InitStruct.Alternate = GPIO_AF8_USART6;
	HAL_GPIO_Init(GPIOG, &GPIO_InitStruct);

	/* EXTI interrupt init*/
	HAL_NVIC_SetPriority(EXTI15_10_IRQn, 5, 0);
	HAL_NVIC_EnableIRQ(EXTI15_10_IRQn);

}

/* USER CODE BEGIN 4 */
void HAL_GPIO_EXTI_Callback(uint16_t GPIO_Pin) {

	if (GPIO_Pin == GPIO_PIN_13) { // when debug switch press this callback call

		//uint8_t init_sw = HAL_GPIO_ReadPin(GPIOC, GPIO_PIN_13);
		//HAL_GPIO_TogglePin(GPIOB, RED_LED_Pin);
		//printf("PREESED\r\n");
	}
}

void initTxType(void) {

	uint8_t sw3_1 = HAL_GPIO_ReadPin(GPIOE, SW3_1_Pin);
	uint8_t sw3_2 = HAL_GPIO_ReadPin(GPIOE, SW3_2_Pin);
	uint8_t sw3_3 = HAL_GPIO_ReadPin(GPIOE, SW3_3_Pin);
	uint8_t sw3_4 = HAL_GPIO_ReadPin(GPIOE, SW3_4_Pin);

	UDP = sw3_1;
	LORA = sw3_2;

}

void initDeviceId(void) {

	uint8_t sw3_1 = HAL_GPIO_ReadPin(GPIOE, SW3_1_Pin);
	uint8_t sw3_2 = HAL_GPIO_ReadPin(GPIOE, SW3_2_Pin);
	uint8_t sw3_3 = HAL_GPIO_ReadPin(GPIOE, SW3_3_Pin);
	uint8_t sw3_4 = HAL_GPIO_ReadPin(GPIOE, SW3_4_Pin);

	//device_id = sw3_4 << 3 | sw3_3 << 2 | sw3_2 << 1 | sw3_1;
	device_id = DEVICEID;
	printf("DEVICE_ID : %d\r\n", device_id);
}

void initDeviceEui(void) {

	unsigned char a[] = { 0xff, 0xff, 0xff, 0xff, 0x00, 0x00, 0x00, (device_id
			& 0xff) };

	char *s = malloc(sizeof a * 2 + 1);
	for (size_t i = 0; i < sizeof a; i++)
		sprintf(s + i * 2, "%02x", a[i]);

	printf("deviceEUI : %s\r\n", s);

	device_eui = s;
	//free(s);

}

uint16_t initBma456(void) {
	/* Variable to store the status of API */
	int8_t rslt;

	/* Sensor initialization configuration */

	/* Variable to store accel data ready interrupt status */
	uint16_t int_status = 0;

	/* Variable that holds the accelerometer sample count */
	uint8_t n_data = 100;

	struct bma4_accel_config accel_conf = { 0 };

	/* Function to select interface between SPI and I2C, according to that the device structure gets updated */
	rslt = bma4_interface_selection(&bma);

	bma4_error_codes_print_result("bma4_interface_selection", rslt);
	//printf("bma4_interface_selection status\r\n");

	/* Sensor initialization */
	rslt = bma456_init(&bma);
	bma4_error_codes_print_result("bma456_init", rslt);
	//printf("bma456_init status\r\n");

	/* Upload the configuration file to enable the features of the sensor. */

	rslt = bma456_write_config_file(&bma);
	bma4_error_codes_print_result("bma456_write_config_file", rslt);
	//printf("bma456_write_config status\r\n");

	/* Enable the accelerometer */
	rslt = bma4_set_accel_enable(BMA4_ENABLE, &bma);
	bma4_error_codes_print_result("bma4_set_accel_enable", rslt);
	//printf("bma4_set_accel_enable status\r\n");

	/* Accelerometer configuration settings */
	/* Output data Rate */
	accel_conf.odr = BMA4_OUTPUT_DATA_RATE_50HZ;

	/* Gravity range of the sensor (+/- 2G, 4G, 8G, 16G) */
	accel_conf.range = BMA4_ACCEL_RANGE_2G;

	/* The bandwidth parameter is used to configure the number of sensor samples that are averaged
	 * if it is set to 2, then 2^(bandwidth parameter) samples
	 * are averaged, resulting in 4 averaged samples
	 * Note1 : For more information, refer the datasheet.
	 * Note2 : A higher number of averaged samples will result in a less noisier signal, but
	 * this has an adverse effect on the power consumed.
	 */
	accel_conf.bandwidth = BMA4_ACCEL_NORMAL_AVG4;

	/* Enable the filter performance mode where averaging of samples
	 * will be done based on above set bandwidth and ODR.
	 * There are two modes
	 *  0 -> Averaging samples (Default)
	 *  1 -> No averaging
	 * For more info on No Averaging mode refer datasheet.
	 */
	//accel_conf.perf_mode = BMA4_CIC_AVG_MODE;
	/* Set the accel configurations */
	rslt = bma4_set_accel_config(&accel_conf, &bma);

	//printf("bma4_set_accel_config status\r\n");

	/* Mapping data ready interrupt with interrupt pin 1 to get interrupt status once getting new accel data */
	rslt = bma456_map_interrupt(BMA4_INTR1_MAP, BMA4_DATA_RDY_INT, BMA4_ENABLE,
			&bma);
	//printf("bma456_map_interrupt status\r\n");

	//printf("Ax[m/s2], Ay[m/s2], Az[m/s2]\r\n");

	while (1) {
		/* Read interrupt status */
		rslt = bma456_read_int_status(&int_status, &bma);
		bma4_error_codes_print_result("bma456_read_int_status", rslt);

		/* Filtering only the accel data ready interrupt */
		if ((rslt == BMA4_OK) && (int_status & BMA4_ACCEL_DATA_RDY_INT)) {
			bma_init = true;

			printf("BMA456 INIT Success\r\n");
//
//            /* Read the accel x, y, z data */
//            rslt = bma4_read_accel_xyz(&sens_data, &bma);
//            bma4_error_codes_print_result("bma4_read_accel_xyz status", rslt);
//
//            if (rslt == BMA4_OK)
//            {
//
//                /* Converting lsb to meter per second squared for 16 bit resolution at 2G range */
//                x = lsb_to_ms2(sens_data.x, 2, bma.resolution);
//                y = lsb_to_ms2(sens_data.y, 2, bma.resolution);
//                z = lsb_to_ms2(sens_data.z, 2, bma.resolution);
//
//                /* Print the data in m/s2 */
//                printf("%4.2f, %4.2f, %4.2f\r\n", x, y, z);
//            }
//
//            /* Decrement the count that determines the number of samples to be printed */
//            n_data--;
//
//            /* When the count reaches 0, break and exit the loop */
//            if (n_data == 0)
//            {
//                printf("NData is 0 \r\n");
//            }

			return;
		}
	}

	return rslt;
}

/* USER CODE END 4 */

void StartDefaultTask(void const *argument) {
	/* init code for LWIP */
	MX_LWIP_Init();
	/* USER CODE BEGIN 5 */

	device_id = DEVICEID;

	printf("### DEVICE_ID : %d ### \r\n",device_id);

	// init status led blink start
	osThreadDef(led_blink_task, startLedBlinkTask, osPriorityNormal, 0,
			configMINIMAL_STACK_SIZE);
	led_blink_task = osThreadCreate(osThread(led_blink_task), NULL);

	osDelay(1000);

	initTxType();
	//initDeviceId();
	initBma456();

	// sensor data collection task.
	osThreadDef(collection_task, collectionTask, osPriorityNormal, 0,
			configMINIMAL_STACK_SIZE);
	collection_task = osThreadCreate(osThread(collection_task), NULL);

	osDelay(1000);

	if (LORA) {
		printf("#######  start LORA ###### \r\n");
		initDeviceEui();
		initLoRa();
		osThreadDef(lora_send_task, startLoRaSendTask, osPriorityNormal, 0,
				configMINIMAL_STACK_SIZE);
		lora_send_task = osThreadCreate(osThread(lora_send_task), NULL);
	}

	if (UDP) {
		printf("#######  start UDP ###### \r\n");
		osThreadDef(tcp_task, StartClientTask, osPriorityNormal, 0,
				configMINIMAL_STACK_SIZE);
		tcp_task = osThreadCreate(osThread(tcp_task), NULL);

		osThreadDef(udp_send_task, startUdpSendTask, osPriorityNormal, 0,
				configMINIMAL_STACK_SIZE);
		udp_send_task = osThreadCreate(osThread(udp_send_task), NULL);
	}

	//start i2c
//	osThreadDef(i2c_task, StartI2CTask, osPriorityNormal, 0,
//			configMINIMAL_STACK_SIZE);
//	i2c_task = osThreadCreate(osThread(i2c_task), NULL);

	// init finish
	osThreadTerminate(led_blink_task);
	HAL_GPIO_WritePin(GPIOB, LED2_Pin, GPIO_PIN_SET);

	HAL_StatusTypeDef ret;
	/* Infinite loop */
	for (;;) {
		if (bma_init) {
//			uint8_t send_buf[1] = { 0x12 };
//			uint8_t i2c_rx_buf[6] = { 0 };
//
//			//lora_rv_data = netbuf_alloc(buf, 128);
//
//			ret = HAL_I2C_Master_Transmit(&hi2c1, 0x30, send_buf, 1,
//					HAL_MAX_DELAY);
//			if (ret != HAL_OK) {
//				printf("i2s send error\r\n");
//			} else {
//				ret = HAL_I2C_Master_Receive(&hi2c1, 0x30, i2c_rx_buf, 6,
//				HAL_MAX_DELAY);
//
//				printf("RAW## ");
//				for(int i =0 ; i < 6 ;i++){
//					printf("%x ",i2c_rx_buf[i]);
//				}
//				printf("\r\n");
//
//			}

			int8_t rslt = bma4_read_accel_xyz(&sens_data, &bma);
			bma4_error_codes_print_result("bma4_read_accel_xyz status", rslt);

			if (rslt == BMA4_OK) {

				/* Converting lsb to meter per second squared for 16 bit resolution at 2G range */
				vibr_x = lsb_to_ms2(sens_data.x, 2, bma.resolution);
				vibr_y = lsb_to_ms2(sens_data.y, 2, bma.resolution);
				vibr_z = lsb_to_ms2(sens_data.z, 2, bma.resolution);
				vibr_abs_new = sqrt(
						pow(vibr_x, 2.0) + pow(vibr_y, 2.0) + pow(vibr_z, 2.0));

				if (vibr_abs_old != 0) {
					//printf("####### VIBR %f , %f , %f#######\r\n",vibr,DIFF_ABS(vibr_abs_new,vibr_abs_old), fmaxf(vibr,DIFF_ABS(vibr_abs_new,vibr_abs_old)));
					c_vibr = DIFF_ABS(vibr_abs_new, vibr_abs_old);
					vibr = fmaxf(vibr, c_vibr);
				}

//				if (vibr_abs
//						!= 0 && DIFF_ABS(vibr_abs_temp,vibr_abs) > VIBR_LIMIT) {
//					printf("####### VIBR #######\r\n");
//					vibr = 0x01;
//				}

				vibr_abs_old = vibr_abs_new;
				/* Print the data in m/s2 */
				//printf("ANGLE : x:%f, y:%f, z:%f , %f\r\n", vibr_x, vibr_y,vibr_z,vibr_abs);
			}
			osDelay(100);
		}
	}
	/* USER CODE END 5 */
}

void HAL_TIM_PeriodElapsedCallback(TIM_HandleTypeDef *htim) {
	if (htim->Instance == TIM6) {
		HAL_IncTick();
	}
}

void Error_Handler(void) {
}

/************************ (C) COPYRIGHT STMicroelectronics *****END OF FILE****/
